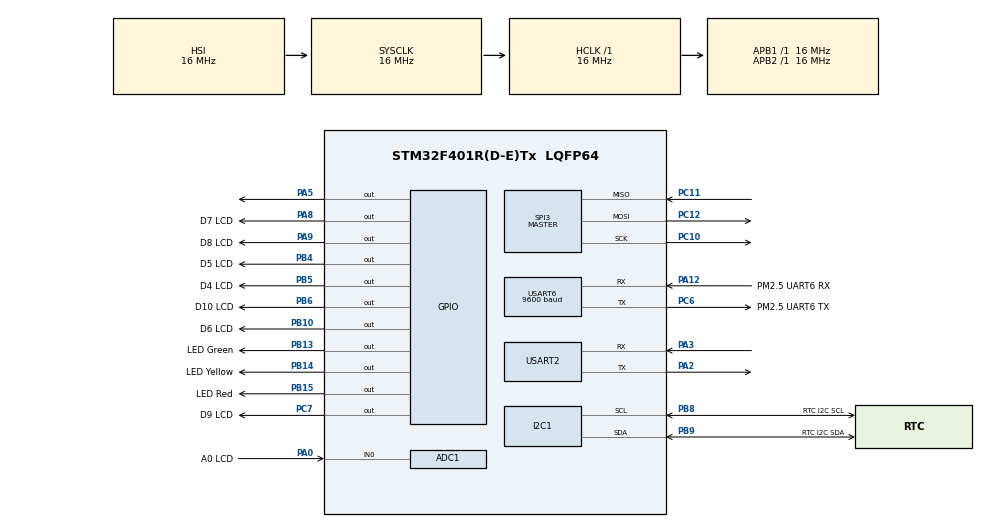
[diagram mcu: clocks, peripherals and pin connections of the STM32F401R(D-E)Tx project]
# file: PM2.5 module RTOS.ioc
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ADC1.Channel-0\#ChannelRegularConversion=ADC_CHANNEL_0
ADC1.NbrOfConversionFlag=1
ADC1.Rank-0\#ChannelRegularConversion=1
ADC1.SamplingTime-0\#ChannelRegularConversion=ADC_SAMPLETIME_3CYCLES
ADC1.master=1
Dma.Request0=USART6_RX
Dma.Request1=USART2_TX
Dma.USART2_TX.1.Direction=DMA_MEMORY_TO_PERIPH
Dma.USART2_TX.1.FIFOMode=DMA_FIFOMODE_DISABLE
Dma.USART2_TX.1.Instance=DMA1_Stream6
Dma.USART2_TX.1.MemDataAlignment=DMA_MDATAALIGN_BYTE
Dma.USART2_TX.1.MemInc=DMA_MINC_ENABLE
Dma.USART2_TX.1.Mode=DMA_CIRCULAR
Dma.USART2_TX.1.PeriphDataAlignment=DMA_PDATAALIGN_BYTE
Dma.USART2_TX.1.PeriphInc=DMA_PINC_DISABLE
Dma.USART2_TX.1.Priority=DMA_PRIORITY_LOW
Dma.USART6_RX.0.Direction=DMA_PERIPH_TO_MEMORY
Dma.USART6_RX.0.FIFOMode=DMA_FIFOMODE_DISABLE
Dma.USART6_RX.0.Instance=DMA2_Stream1
Dma.USART6_RX.0.MemDataAlignment=DMA_MDATAALIGN_BYTE
Dma.USART6_RX.0.MemInc=DMA_MINC_ENABLE
Dma.USART6_RX.0.Mode=DMA_CIRCULAR
Dma.USART6_RX.0.PeriphDataAlignment=DMA_PDATAALIGN_BYTE
Dma.USART6_RX.0.PeriphInc=DMA_PINC_DISABLE
Dma.USART6_RX.0.Priority=DMA_PRIORITY_LOW
FREERTOS.Queues01=PMvalue,1,uint8_t,0,Dynamic,NULL,NULL;RTCvalue,16,uint16_t,0,Dynamic,NULL,NULL
FREERTOS.Tasks01=defaultTask,0,128,StartDefaultTask,Default,NULL,Dynamic,NULL,NULL;LCDtask,-3,128,LCDtask1,Default,NULL,Dynamic,NULL,NULL;PM2_5,-3,128,PM2_5_1,Default,NULL,Dynamic,NULL,NULL;RTCread,-3,128,RTC_1,Default,NULL,Dynamic,NULL,NULL
Mcu.Family=STM32F4
Mcu.Name=STM32F401R(D-E)Tx
Mcu.Package=LQFP64
NVIC.DMA1_Stream6_IRQn=true\:5\:0\:false\:false\:true\:true\:false\:true
NVIC.DMA2_Stream1_IRQn=true\:5\:0\:false\:false\:true\:true\:false\:true
NVIC.PriorityGroup=NVIC_PRIORITYGROUP_4
NVIC.TIM3_IRQn=true\:0\:0\:false\:false\:true\:false\:false\:true
NVIC.TimeBase=TIM3_IRQn
NVIC.TimeBaseIP=TIM3
NVIC.USART2_IRQn=true\:5\:0\:false\:false\:true\:true\:true\:true
NVIC.USART6_IRQn=true\:5\:0\:false\:false\:true\:true\:true\:true
PA0-WKUP.GPIO_Label=A0 LCD
PA0-WKUP.Signal=SharedAnalog_PA0
PA12.GPIO_Label=PM2.5 UART6 RX
PA12.Mode=Asynchronous
PA12.Signal=USART6_RX
PA2.Mode=Asynchronous
PA2.Signal=USART2_TX
PA3.Mode=Asynchronous
PA3.Signal=USART2_RX
PA5.Signal=GPIO_Output
PA8.GPIO_Label=D7 LCD
PA8.Signal=GPIO_Output
PA9.GPIO_Label=D8 LCD
PA9.Signal=GPIO_Output
PB10.GPIO_Label=D6 LCD
PB10.Signal=GPIO_Output
PB13.GPIO_Label=LED Green
PB13.Signal=GPIO_Output
PB14.GPIO_Label=LED Yellow
PB14.Signal=GPIO_Output
PB15.GPIO_Label=LED Red
PB15.Signal=GPIO_Output
PB4.GPIO_Label=D5 LCD
PB4.Signal=GPIO_Output
PB5.GPIO_Label=D4 LCD
PB5.Signal=GPIO_Output
PB6.GPIO_Label=D10 LCD
PB6.Signal=GPIO_Output
PB8.GPIO_Label=RTC I2C SCL 
PB8.Mode=I2C
PB8.Signal=I2C1_SCL
PB9.GPIO_Label=RTC I2C SDA
PB9.Mode=I2C
PB9.Signal=I2C1_SDA
PC10.Mode=Full_Duplex_Master
PC10.Signal=SPI3_SCK
PC11.Mode=Full_Duplex_Master
PC11.Signal=SPI3_MISO
PC12.Mode=Full_Duplex_Master
PC12.Signal=SPI3_MOSI
PC6.GPIO_Label=PM2.5 UART6 TX
PC6.Mode=Asynchronous
PC6.Signal=USART6_TX
PC7.GPIO_Label=D9 LCD
PC7.Signal=GPIO_Output
PH0\ -\ OSC_IN.Mode=HSE-External-Oscillator
PH0\ -\ OSC_IN.Signal=RCC_OSC_IN
PH1\ -\ OSC_OUT.Mode=HSE-External-Oscillator
PH1\ -\ OSC_OUT.Signal=RCC_OSC_OUT
ProjectManager.HeapSize=0x200
ProjectManager.StackSize=0x400
ProjectManager.TargetToolchain=STM32CubeIDE
RCC.AHBFreq_Value=16000000
RCC.APB1Freq_Value=16000000
RCC.APB2Freq_Value=16000000
RCC.CortexFreq_Value=16000000
RCC.HSE_VALUE=25000000
RCC.HSI_VALUE=16000000
RCC.LSE_VALUE=32768
RCC.SYSCLKFreq_VALUE=16000000
RCC.VCOOutputFreq_Value=192000000
SH.SharedAnalog_PA0.0=GPIO_Analog
SH.SharedAnalog_PA0.1=ADC1_IN0,IN0
SPI3.Direction=SPI_DIRECTION_2LINES
SPI3.Mode=SPI_MODE_MASTER
SPI3.VirtualType=VM_MASTER
USART2.VirtualMode=VM_ASYNC
USART6.BaudRate=9600
USART6.VirtualMode=VM_ASYNC
VP_FREERTOS_VS_CMSIS_V1.Mode=CMSIS_V1
VP_SYS_VS_tim3.Mode=TIM3
board=custom

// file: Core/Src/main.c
/* USER CODE BEGIN Header */
/**
  ******************************************************************************
  * @file           : main.c
  * @brief          : Main program body
  ******************************************************************************
  * @attention
  *
  * <h2><center>&copy; Copyright (c) 2019 STMicroelectronics.
  * All rights reserved.</center></h2>
  *
  * This software component is licensed by ST under Ultimate Liberty license
  * SLA0044, the "License"; You may not use this file except in compliance with
  * the License. You may obtain a copy of the License at:
  *                             www.st.com/SLA0044
  *
  ******************************************************************************
  */
/* USER CODE END Header */

#include "main.h"
#include "cmsis_os.h"

/* USER CODE BEGIN Includes */
#include "PMmodule.h"
#include "retarget.h"
#include "lcd.h"
#include "rtc.h"
//#include "CMSIS-USERDEF.h"
/* USER CODE END Includes */

/* USER CODE BEGIN PM */
#define BUFFSIZE	32
#define GOODAIR			0	//Little to no risk.
#define MODERATEAIR		12	//Unusually sensitive individuals may experience respiratory symptoms.
#define	UNHEALTHYAIR	35.4 //Increasing likelihood of respiratory symptoms in sensitive individuals, aggravation of heart or lung disease and premature mortality in persons with cardiopulmonary disease and the elderly.
/* USER CODE END PM */

ADC_HandleTypeDef hadc1;

I2C_HandleTypeDef hi2c1;

SPI_HandleTypeDef hspi3;

UART_HandleTypeDef huart2;
UART_HandleTypeDef huart6;
DMA_HandleTypeDef hdma_usart2_tx;
DMA_HandleTypeDef hdma_usart6_rx;

osThreadId defaultTaskHandle;
osThreadId LCDtaskHandle;
osThreadId PM2_5Handle;
osThreadId RTCreadHandle;
osMessageQId PMvalueHandle;
osMessageQId RTCvalueHandle;
/* USER CODE BEGIN PV */
osThreadId LEDtaskHandle;
osThreadId LEDinitHandle;
/* USER CODE END PV */

void SystemClock_Config(void);
static void MX_GPIO_Init(void);
static void MX_ADC1_Init(void);
static void MX_I2C1_Init(void);
static void MX_USART2_UART_Init(void);
static void MX_USART6_UART_Init(void);
static void MX_SPI3_Init(void);
static void MX_DMA_Init(void);
void StartDefaultTask(void const * argument);
void LCDtask1(void const * argument);
void PM2_5_1(void const * argument);
void RTC_1(void const * argument);

/* USER CODE BEGIN PFP */
void LEDtask1(void const * argument);
void LEDinit1(void const * argument);
/* USER CODE END PFP */

/* USER CODE BEGIN 0 */
uint8_t pmbuff[BUFFSIZE];
uint8_t pmflag[32];
uint8_t RxReady = SET;
static Lcd_HandleTypeDef lcd;
//static uint16_t RTCvalue[6];

/* USER CODE END 0 */

int main(void)
{

  /* MCU Configuration--------------------------------------------------------*/

  /* Reset of all peripherals, Initializes the Flash interface and the Systick. */
  HAL_Init();

  /* Configure the system clock */
  SystemClock_Config();

  /* Initialize all configured peripherals */
  MX_GPIO_Init();
  MX_ADC1_Init();
  MX_I2C1_Init();
  MX_USART2_UART_Init();
  MX_USART6_UART_Init();
  MX_SPI3_Init();
  MX_DMA_Init();
  /* USER CODE BEGIN 2 */
  RetargetInit(&huart2);

  static Lcd_PortType ports[] = {D4_GPIO_Port, D5_GPIO_Port, D6_GPIO_Port, D7_GPIO_Port};
  static Lcd_PinType pins[] = {D4_Pin, D5_Pin, D6_Pin, D7_Pin};
  HAL_GPIO_WritePin(BL_GPIO_Port, BL_Pin, GPIO_PIN_SET);
  lcd = Lcd_create(ports, pins, RS_GPIO_Port, RS_Pin, EN_GPIO_Port, EN_Pin, LCD_4_BIT_MODE);
  Lcd_string(&lcd, "Initialising");

  /* USER CODE END 2 */

  /* Create the queue(s) */
  /* definition and creation of PMvalue */
  osMessageQDef(PMvalue, 1, uint8_t);
  PMvalueHandle = osMessageCreate(osMessageQ(PMvalue), NULL);

  /* definition and creation of RTCvalue */

  /* USER CODE BEGIN RTOS_QUEUES */
  /* add queues, ... */
  osMailQDef(RTCvalue,1,rtc_HandleTypeDef);
  RTCvalueHandle = osMailCreate(osMailQ(RTCvalue),NULL);
  /* USER CODE END RTOS_QUEUES */

  /* Create the thread(s) */
  /* definition and creation of defaultTask */
  osThreadDef(defaultTask, StartDefaultTask, osPriorityIdle, 0, 128);
  defaultTaskHandle = osThreadCreate(osThread(defaultTask), NULL);

  /* definition and creation of LCDtask */
  osThreadDef(LCDtask, LCDtask1, osPriorityNormal, 0, 512);
  LCDtaskHandle = osThreadCreate(osThread(LCDtask), NULL);

  /* definition and creation of PM2_5 */
  osThreadDef(PM2_5, PM2_5_1, osPriorityNormal, 0, 128);
  PM2_5Handle = osThreadCreate(osThread(PM2_5), NULL);

  /* definition and creation of RTCread */
  osThreadDef(RTCread, RTC_1, osPriorityNormal, 0, 128);
  RTCreadHandle = osThreadCreate(osThread(RTCread), NULL);

  /* USER CODE BEGIN RTOS_THREADS */
  /* add threads, ... */

  /* definition and creation of LEDtask */
  osThreadDef(LEDtask, LEDtask1, osPriorityNormal, 0, 128);
  LEDtaskHandle = osThreadCreate(osThread(LEDtask), NULL);

  osThreadDef(LEDinit, LEDinit1, osPriorityHigh, 0, 128);
  LEDinitHandle = osThreadCreate(osThread(LEDinit), NULL);
  /* USER CODE END RTOS_THREADS */

  /* Start scheduler */
  osKernelStart();

  /* We should never get here as control is now taken by the scheduler */

  /* Infinite loop */
  /* USER CODE BEGIN WHILE */
  while (1)
  {
	  /*
	  uint16_t PM2_5 = 0;
	  if(HAL_UART_Receive_IT(&huart6, pmflag, 32)==HAL_OK){
		  //HAL_UART_Transmit_IT(&huart2, pmflag, 31);
		  if (pmflag[0]==0x42){
			  HAL_GPIO_TogglePin(GPIOA,GPIO_PIN_5);
			  PM2_5 = transmitPM2_5(pmflag);
			  printf("The Current PM2.5 is: %d\r\n",PM2_5);
			  Lcd_clear(&lcd);
			  //HAL_Delay(20);
			  //Lcd_cursor(&lcd,1,0);
			  //Lcd_string(&lcd, "PM2.5 Monitoring..");
			  Lcd_cursor(&lcd,0,0);
			  Lcd_string(&lcd, "PM2.5 is:");
			  Lcd_cursor(&lcd,0,10);
			  Lcd_int(&lcd,PM2_5);
		  }
		  else
		  {
			  HAL_Delay(1);
		  }
		  HAL_Delay(1000);

	  }*/
    /* USER CODE END WHILE */

  }
}

void SystemClock_Config(void)
{
  RCC_OscInitTypeDef RCC_OscInitStruct = {0};
  RCC_ClkInitTypeDef RCC_ClkInitStruct = {0};

  /** Configure the main internal regulator output voltage
  */
  __HAL_RCC_PWR_CLK_ENABLE();
  __HAL_PWR_VOLTAGESCALING_CONFIG(PWR_REGULATOR_VOLTAGE_SCALE2);
  /** Initializes the CPU, AHB and APB busses clocks
  */
  RCC_OscInitStruct.OscillatorType = RCC_OSCILLATORTYPE_HSI;
  RCC_OscInitStruct.HSIState = RCC_HSI_ON;
  RCC_OscInitStruct.HSICalibrationValue = RCC_HSICALIBRATION_DEFAULT;
  RCC_OscInitStruct.PLL.PLLState = RCC_PLL_NONE;
  if (HAL_RCC_OscConfig(&RCC_OscInitStruct) != HAL_OK)
  {
    Error_Handler();
  }
  /** Initializes the CPU, AHB and APB busses clocks
  */
  RCC_ClkInitStruct.ClockType = RCC_CLOCKTYPE_HCLK|RCC_CLOCKTYPE_SYSCLK
                              |RCC_CLOCKTYPE_PCLK1|RCC_CLOCKTYPE_PCLK2;
  RCC_ClkInitStruct.SYSCLKSource = RCC_SYSCLKSOURCE_HSI;
  RCC_ClkInitStruct.AHBCLKDivider = RCC_SYSCLK_DIV1;
  RCC_ClkInitStruct.APB1CLKDivider = RCC_HCLK_DIV1;
  RCC_ClkInitStruct.APB2CLKDivider = RCC_HCLK_DIV1;

  if (HAL_RCC_ClockConfig(&RCC_ClkInitStruct, FLASH_LATENCY_0) != HAL_OK)
  {
    Error_Handler();
  }
}

static void MX_ADC1_Init(void)
{

  ADC_ChannelConfTypeDef sConfig = {0};

  /** Configure the global features of the ADC (Clock, Resolution, Data Alignment and number of conversion)
  */
  hadc1.Instance = ADC1;
  hadc1.Init.ClockPrescaler = ADC_CLOCK_SYNC_PCLK_DIV2;
  hadc1.Init.Resolution = ADC_RESOLUTION_12B;
  hadc1.Init.ScanConvMode = DISABLE;
  hadc1.Init.ContinuousConvMode = DISABLE;
  hadc1.Init.DiscontinuousConvMode = DISABLE;
  hadc1.Init.ExternalTrigConvEdge = ADC_EXTERNALTRIGCONVEDGE_NONE;
  hadc1.Init.ExternalTrigConv = ADC_SOFTWARE_START;
  hadc1.Init.DataAlign = ADC_DATAALIGN_RIGHT;
  hadc1.Init.NbrOfConversion = 1;
  hadc1.Init.DMAContinuousRequests = DISABLE;
  hadc1.Init.EOCSelection = ADC_EOC_SINGLE_CONV;
  if (HAL_ADC_Init(&hadc1) != HAL_OK)
  {
    Error_Handler();
  }
  /** Configure for the selected ADC regular channel its corresponding rank in the sequencer and its sample time.
  */
  sConfig.Channel = ADC_CHANNEL_0;
  sConfig.Rank = 1;
  sConfig.SamplingTime = ADC_SAMPLETIME_3CYCLES;
  if (HAL_ADC_ConfigChannel(&hadc1, &sConfig) != HAL_OK)
  {
    Error_Handler();
  }

}

static void MX_I2C1_Init(void)
{

  hi2c1.Instance = I2C1;
  hi2c1.Init.ClockSpeed = 100000;
  hi2c1.Init.DutyCycle = I2C_DUTYCYCLE_2;
  hi2c1.Init.OwnAddress1 = 0;
  hi2c1.Init.AddressingMode = I2C_ADDRESSINGMODE_7BIT;
  hi2c1.Init.DualAddressMode = I2C_DUALADDRESS_DISABLE;
  hi2c1.Init.OwnAddress2 = 0;
  hi2c1.Init.GeneralCallMode = I2C_GENERALCALL_DISABLE;
  hi2c1.Init.NoStretchMode = I2C_NOSTRETCH_DISABLE;
  if (HAL_I2C_Init(&hi2c1) != HAL_OK)
  {
    Error_Handler();
  }

}

static void MX_SPI3_Init(void)
{

  /* SPI3 parameter configuration*/
  hspi3.Instance = SPI3;
  hspi3.Init.Mode = SPI_MODE_MASTER;
  hspi3.Init.Direction = SPI_DIRECTION_2LINES;
  hspi3.Init.DataSize = SPI_DATASIZE_8BIT;
  hspi3.Init.CLKPolarity = SPI_POLARITY_LOW;
  hspi3.Init.CLKPhase = SPI_PHASE_1EDGE;
  hspi3.Init.NSS = SPI_NSS_SOFT;
  hspi3.Init.BaudRatePrescaler = SPI_BAUDRATEPRESCALER_2;
  hspi3.Init.FirstBit = SPI_FIRSTBIT_MSB;
  hspi3.Init.TIMode = SPI_TIMODE_DISABLE;
  hspi3.Init.CRCCalculation = SPI_CRCCALCULATION_DISABLE;
  hspi3.Init.CRCPolynomial = 10;
  if (HAL_SPI_Init(&hspi3) != HAL_OK)
  {
    Error_Handler();
  }

}

static void MX_USART2_UART_Init(void)
{

  huart2.Instance = USART2;
  huart2.Init.BaudRate = 115200;
  huart2.Init.WordLength = UART_WORDLENGTH_8B;
  huart2.Init.StopBits = UART_STOPBITS_1;
  huart2.Init.Parity = UART_PARITY_NONE;
  huart2.Init.Mode = UART_MODE_TX_RX;
  huart2.Init.HwFlowCtl = UART_HWCONTROL_NONE;
  huart2.Init.OverSampling = UART_OVERSAMPLING_16;
  if (HAL_UART_Init(&huart2) != HAL_OK)
  {
    Error_Handler();
  }

}

static void MX_USART6_UART_Init(void)
{

  huart6.Instance = USART6;
  huart6.Init.BaudRate = 9600;
  huart6.Init.WordLength = UART_WORDLENGTH_8B;
  huart6.Init.StopBits = UART_STOPBITS_1;
  huart6.Init.Parity = UART_PARITY_NONE;
  huart6.Init.Mode = UART_MODE_TX_RX;
  huart6.Init.HwFlowCtl = UART_HWCONTROL_NONE;
  huart6.Init.OverSampling = UART_OVERSAMPLING_16;
  if (HAL_UART_Init(&huart6) != HAL_OK)
  {
    Error_Handler();
  }

}

static void MX_DMA_Init(void)
{

  /* DMA controller clock enable */
  __HAL_RCC_DMA2_CLK_ENABLE();
  __HAL_RCC_DMA1_CLK_ENABLE();

  /* DMA interrupt init */
  /* DMA1_Stream6_IRQn interrupt configuration */
  HAL_NVIC_SetPriority(DMA1_Stream6_IRQn, 5, 0);
  HAL_NVIC_EnableIRQ(DMA1_Stream6_IRQn);
  /* DMA2_Stream1_IRQn interrupt configuration */
  HAL_NVIC_SetPriority(DMA2_Stream1_IRQn, 5, 0);
  HAL_NVIC_EnableIRQ(DMA2_Stream1_IRQn);

}

static void MX_GPIO_Init(void)
{
  GPIO_InitTypeDef GPIO_InitStruct = {0};

  /* GPIO Ports Clock Enable */
  __HAL_RCC_GPIOH_CLK_ENABLE();
  __HAL_RCC_GPIOA_CLK_ENABLE();
  __HAL_RCC_GPIOB_CLK_ENABLE();
  __HAL_RCC_GPIOC_CLK_ENABLE();

  /*Configure GPIO pin Output Level */
  HAL_GPIO_WritePin(GPIOA, GPIO_PIN_5|D7_LCD_Pin|D8_LCD_Pin, GPIO_PIN_RESET);

  /*Configure GPIO pin Output Level */
  HAL_GPIO_WritePin(GPIOB, D6_LCD_Pin|LED_Green_Pin|LED_Yellow_Pin|LED_Red_Pin
                          |D5_LCD_Pin|D4_LCD_Pin|D10_LCD_Pin, GPIO_PIN_RESET);

  /*Configure GPIO pin Output Level */
  HAL_GPIO_WritePin(D9_LCD_GPIO_Port, D9_LCD_Pin, GPIO_PIN_RESET);

  /*Configure GPIO pin : A0_LCD_Pin */
  GPIO_InitStruct.Pin = A0_LCD_Pin;
  GPIO_InitStruct.Mode = GPIO_MODE_ANALOG;
  GPIO_InitStruct.Pull = GPIO_NOPULL;
  HAL_GPIO_Init(A0_LCD_GPIO_Port, &GPIO_InitStruct);

  /*Configure GPIO pins : PA5 D7_LCD_Pin D8_LCD_Pin */
  GPIO_InitStruct.Pin = GPIO_PIN_5|D7_LCD_Pin|D8_LCD_Pin;
  GPIO_InitStruct.Mode = GPIO_MODE_OUTPUT_PP;
  GPIO_InitStruct.Pull = GPIO_NOPULL;
  GPIO_InitStruct.Speed = GPIO_SPEED_FREQ_LOW;
  HAL_GPIO_Init(GPIOA, &GPIO_InitStruct);

  /*Configure GPIO pins : D6_LCD_Pin LED_Green_Pin LED_Yellow_Pin LED_Red_Pin
                           D5_LCD_Pin D4_LCD_Pin D10_LCD_Pin */
  GPIO_InitStruct.Pin = D6_LCD_Pin|LED_Green_Pin|LED_Yellow_Pin|LED_Red_Pin
                          |D5_LCD_Pin|D4_LCD_Pin|D10_LCD_Pin;
  GPIO_InitStruct.Mode = GPIO_MODE_OUTPUT_PP;
  GPIO_InitStruct.Pull = GPIO_NOPULL;
  GPIO_InitStruct.Speed = GPIO_SPEED_FREQ_LOW;
  HAL_GPIO_Init(GPIOB, &GPIO_InitStruct);

  /*Configure GPIO pin : D9_LCD_Pin */
  GPIO_InitStruct.Pin = D9_LCD_Pin;
  GPIO_InitStruct.Mode = GPIO_MODE_OUTPUT_PP;
  GPIO_InitStruct.Pull = GPIO_NOPULL;
  GPIO_InitStruct.Speed = GPIO_SPEED_FREQ_LOW;
  HAL_GPIO_Init(D9_LCD_GPIO_Port, &GPIO_InitStruct);

}

/* USER CODE BEGIN 4 */
void HAL_UART_RxCpltCallback(UART_HandleTypeDef *UartHandle){
	RxReady = SET;
}
void LEDinit1(void const * argument)
{
	uint8_t i = 0;
	osThreadSuspend(LCDtaskHandle);
	osThreadSuspend(PM2_5Handle);
	osThreadSuspend(RTCreadHandle);
	osThreadSuspend(LEDtaskHandle);

	for(i=0;i<6;i++)
	{
		HAL_GPIO_TogglePin(LED_Green_GPIO_Port, LED_Green_Pin);
		HAL_GPIO_TogglePin(LED_Yellow_GPIO_Port, LED_Yellow_Pin);
		HAL_GPIO_TogglePin(LED_Red_GPIO_Port, LED_Red_Pin);
		osDelay(100);
	}

	HAL_GPIO_WritePin(LED_Green_GPIO_Port, LED_Green_Pin, GPIO_PIN_SET);
	HAL_GPIO_WritePin(LED_Yellow_GPIO_Port, LED_Yellow_Pin, GPIO_PIN_SET);
	HAL_GPIO_WritePin(LED_Red_GPIO_Port, LED_Red_Pin, GPIO_PIN_SET);

	osThreadResume(LCDtaskHandle);
	osThreadResume(PM2_5Handle);
	osThreadResume(RTCreadHandle);
	osThreadResume(LEDtaskHandle);

	osThreadTerminate(NULL);
}
void LEDtask1(void const * argument)
{
	uint8_t PM2_5;
	osEvent PMevt;
	while(1)
	{
		PMevt = osMessagePeek(PMvalueHandle,osWaitForever);
		if (PMevt.status == osEventMessage)
		{
		  PM2_5 = PMevt.value.v;
		  if (PM2_5<MODERATEAIR)
		  {
			  HAL_GPIO_WritePin(LED_Green_GPIO_Port, LED_Green_Pin, GPIO_PIN_SET);
			  HAL_GPIO_WritePin(LED_Yellow_GPIO_Port, LED_Yellow_Pin, GPIO_PIN_RESET);
			  HAL_GPIO_WritePin(LED_Red_GPIO_Port, LED_Red_Pin, GPIO_PIN_RESET);
		  }
		  else if((PM2_5<UNHEALTHYAIR) && (PM2_5>MODERATEAIR))
		  {
			  HAL_GPIO_WritePin(LED_Green_GPIO_Port, LED_Green_Pin, GPIO_PIN_RESET);
			  HAL_GPIO_WritePin(LED_Yellow_GPIO_Port, LED_Yellow_Pin, GPIO_PIN_SET);
			  HAL_GPIO_WritePin(LED_Red_GPIO_Port, LED_Red_Pin, GPIO_PIN_RESET);
		  }
		  else
		  {
			  HAL_GPIO_WritePin(LED_Green_GPIO_Port, LED_Green_Pin, GPIO_PIN_RESET);
			  HAL_GPIO_WritePin(LED_Yellow_GPIO_Port, LED_Yellow_Pin, GPIO_PIN_RESET);
			  HAL_GPIO_WritePin(LED_Red_GPIO_Port, LED_Red_Pin, GPIO_PIN_SET);
		  }
		}
	osDelay(500);
	}
	osThreadTerminate(NULL);
}
/* USER CODE END 4 */

void StartDefaultTask(void const * argument)
{
  for(;;)
  {
    osDelay(1);
  }
}

void LCDtask1(void const * argument)
{
  /* USER CODE BEGIN LCDtask1 */
		uint8_t PM2_5;
		//uint16_t RTCreceive[6];
		//uint16_t *RTCptr;
		osEvent RTCevt;
		osEvent PMevt;
		rtc_HandleTypeDef *rtc_receive;
		uint8_t Months[12][4] = {"Jan\0", "Feb\0", "Mar\0", "Apr\0", "May\0",
				"Jun\0", "Jul\0", "Aug\0", "Sep\0", "Oct\0", "Nov\0", "Dec\0"};
		char date[16];
		char PMtext[16];
		uint8_t LCD_clearflag = 1;
  /* Infinite loop */
  for(;;)
  {

	  PMevt = osMessagePeek(PMvalueHandle,osWaitForever);
	  if (PMevt.status == osEventMessage)
	  {
		  PM2_5 = PMevt.value.v;
		  printf("The current PM2.5 is : %d \r\n", PM2_5);
		  //Lcd_clear(&lcd);
		  sprintf(PMtext,"PM2.5: %02d ug/m3",PM2_5);
		  if (LCD_clearflag ==1){
		  		  Lcd_clear(&lcd);
		  		  LCD_clearflag = 0;
		  }
		  Lcd_cursor(&lcd,1,0);
		  Lcd_string(&lcd, PMtext);
	  }

	  RTCevt = osMailGet(RTCvalueHandle,osWaitForever);
	  if(RTCevt.status == osEventMail)
	  {
		  rtc_receive =  (rtc_HandleTypeDef*) RTCevt.value.p;
		  printf("year: %d\r\n",rtc_receive->year);
		  printf("day: %d \r\n",rtc_receive->day);
		  sprintf(date,"%s-%02d %02d:%02d:%02d",Months[(rtc_receive->month)-1],rtc_receive->day,rtc_receive->hour,rtc_receive->minute,rtc_receive->second);
		  //Lcd_string(&lcd,Months[(rtc_receive->month)-1]);
		  Lcd_cursor(&lcd,0,0);
		  Lcd_string(&lcd,date);
		  osMailFree(RTCvalueHandle, rtc_receive);
	  }
	  osDelay(100);
  }
  osThreadTerminate(NULL);
  /* USER CODE END LCDtask1 */
}

void PM2_5_1(void const * argument)
{
  /* USER CODE BEGIN PM2_5_1 */
  /* Infinite loop */
  for(;;)
  {
	  uint8_t PM2_5;
	  if (RxReady==SET)
	  {
		  RxReady = RESET;
		  HAL_UART_Receive_IT(&huart6, pmflag, 32); //Read data from PM2.5 module, fixed packet length is 32 bytes.
		  HAL_GPIO_TogglePin(GPIOA,GPIO_PIN_5);
		  if(pmflag[0]==0x42) //The correct data start with 0x42.
		  {
			  PM2_5 = transmitPM2_5(pmflag);
			  if(PMchecksum(pmflag,32)==0)
			  {
				  osMessageOverwrite(PMvalueHandle,PM2_5); //Since CMSIS-RTOS library does not have such function. This is user defined function
				  //printf("Get PM2.5 value\r\n");
			  }
		  }
	  }
	  //test only
	  osDelay(100);
  }
  osThreadTerminate(NULL);
  /* USER CODE END PM2_5_1 */
}

void RTC_1(void const * argument)
{
  /* USER CODE BEGIN RTC_1 */
	rtc_HandleTypeDef *rtc_t;
	rtc_t = (rtc_HandleTypeDef*) osMailAlloc(RTCvalueHandle,osWaitForever);
  /* Infinite loop */
  for(;;)
  {
	  //uint16_t RTCsend[6];
	  *rtc_t = ReadRTC();
	  osMailPut(RTCvalueHandle,rtc_t);
  	  osDelay(100);
  }
  /* USER CODE END RTC_1 */
}

void HAL_TIM_PeriodElapsedCallback(TIM_HandleTypeDef *htim)
{
  if (htim->Instance == TIM3) {
    HAL_IncTick();
  }
}

void Error_Handler(void)
{
}

/************************ (C) COPYRIGHT STMicroelectronics *****END OF FILE****/
